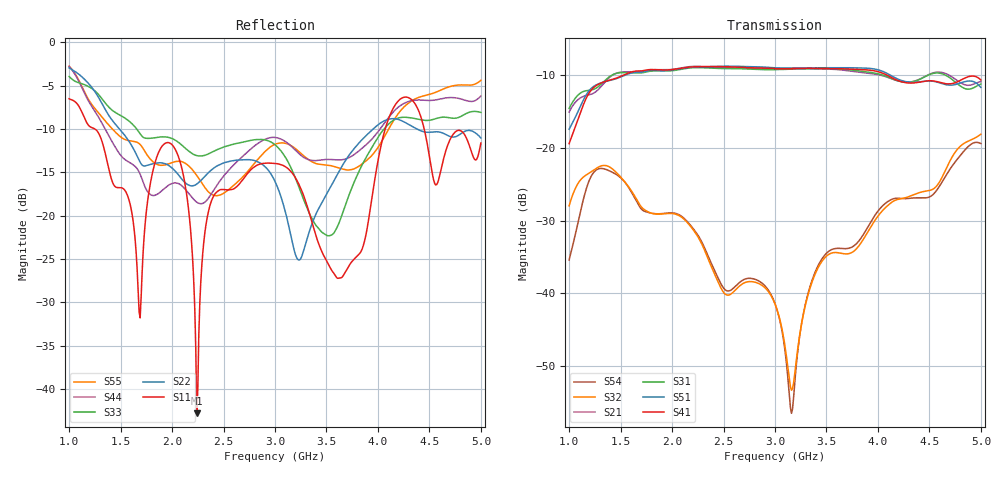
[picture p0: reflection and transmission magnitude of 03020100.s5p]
! AWR Design Environment (19377) Sat Dec 27 02:21:50 2025
! Document = 'EM_Extract_4_way'
! nPorts: 5, nXvals: 401
! Created with skrf 1.8.0 (http://scikit-rf.org).
# GHz S RI R 50.0
!freq ReS11 ImS11 ReS12 ImS12 ReS13 ImS13
! ReS14 ImS14 ReS15 ImS15
! ReS21 ImS21 ReS22 ImS22 ReS23 ImS23
! ReS24 ImS24 ReS25 ImS25
! ReS31 ImS31 ReS32 ImS32 ReS33 ImS33
! ReS34 ImS34 ReS35 ImS35
! ReS41 ImS41 ReS42 ImS42 ReS43 ImS43
! ReS44 ImS44 ReS45 ImS45
! ReS51 ImS51 ReS52 ImS52 ReS53 ImS53
! ReS54 ImS54 ReS55 ImS55
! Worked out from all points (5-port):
!   401 points, 1 GHz to 5 GHz, reference 50 ohm
!   strongest paths, dB at 1 GHz, 2 GHz, 3 GHz, 4 GHz, 5 GHz:
!     S41: -19.4, -9.3, -9.1, -9.5, -10.7
!     S51: -17.5, -9.3, -9.0, -9.3, -11.7
!     S31: -14.6, -9.4, -9.3, -9.8, -11.3
!     S21: -15.1, -9.2, -9.1, -10.0, -10.9
!     S32: -28.0, -29.0, -41.4, -29.4, -18.1
!     S54: -35.4, -28.9, -41.4, -28.7, -19.4
!   lowest |S11| = -42.8 dB at 2.24 GHz (marker M1), VSWR 1.01, Z = 50.3 - j0.678 ohm
!   |S11| at or under -10 dB: 1.251 GHz to 4.07 GHz (2.819 GHz wide, 106 % of centre); 4.449 GHz to end of sweep
